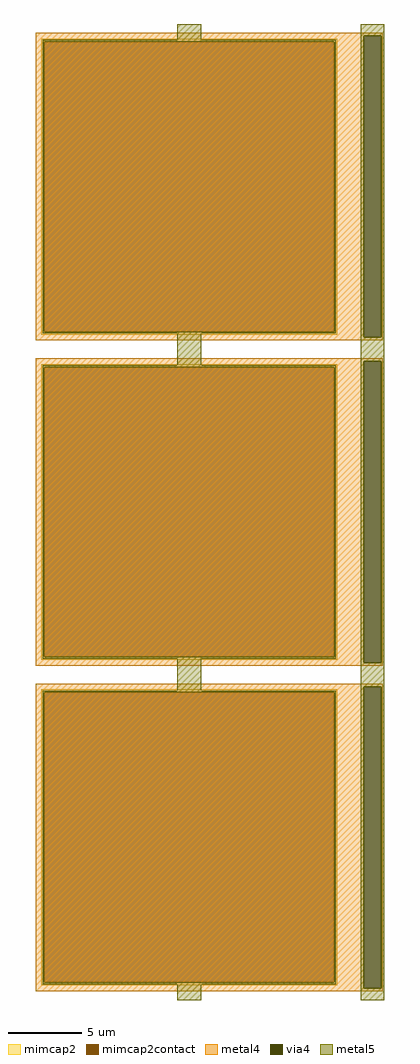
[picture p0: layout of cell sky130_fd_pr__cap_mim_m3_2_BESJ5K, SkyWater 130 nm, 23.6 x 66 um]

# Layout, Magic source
magic
tech sky130B
magscale 1 2
<< metal4 >>
rect -2349 6439 2349 6480
rect -2349 2361 2093 6439
rect 2329 2361 2349 6439
rect -2349 2320 2349 2361
rect -2349 2039 2349 2080
rect -2349 -2039 2093 2039
rect 2329 -2039 2349 2039
rect -2349 -2080 2349 -2039
rect -2349 -2361 2349 -2320
rect -2349 -6439 2093 -2361
rect 2329 -6439 2349 -2361
rect -2349 -6480 2349 -6439
<< via4 >>
rect 2093 2361 2329 6439
rect 2093 -2039 2329 2039
rect 2093 -6439 2329 -2361
<< mimcap2 >>
rect -2269 6360 1731 6400
rect -2269 2440 -2229 6360
rect 1691 2440 1731 6360
rect -2269 2400 1731 2440
rect -2269 1960 1731 2000
rect -2269 -1960 -2229 1960
rect 1691 -1960 1731 1960
rect -2269 -2000 1731 -1960
rect -2269 -2440 1731 -2400
rect -2269 -6360 -2229 -2440
rect 1691 -6360 1731 -2440
rect -2269 -6400 1731 -6360
<< mimcap2contact >>
rect -2229 2440 1691 6360
rect -2229 -1960 1691 1960
rect -2229 -6360 1691 -2440
<< metal5 >>
rect -429 6384 -109 6600
rect 2051 6439 2371 6600
rect -2253 6360 1715 6384
rect -2253 2440 -2229 6360
rect 1691 2440 1715 6360
rect -2253 2416 1715 2440
rect -429 1984 -109 2416
rect 2051 2361 2093 6439
rect 2329 2361 2371 6439
rect 2051 2039 2371 2361
rect -2253 1960 1715 1984
rect -2253 -1960 -2229 1960
rect 1691 -1960 1715 1960
rect -2253 -1984 1715 -1960
rect -429 -2416 -109 -1984
rect 2051 -2039 2093 2039
rect 2329 -2039 2371 2039
rect 2051 -2361 2371 -2039
rect -2253 -2440 1715 -2416
rect -2253 -6360 -2229 -2440
rect 1691 -6360 1715 -2440
rect -2253 -6384 1715 -6360
rect -429 -6600 -109 -6384
rect 2051 -6439 2093 -2361
rect 2329 -6439 2371 -2361
rect 2051 -6600 2371 -6439
<< properties >>
string FIXED_BBOX -2349 2320 1811 6480
string gencell sky130_fd_pr__cap_mim_m3_2
string library sky130
string parameters w 20.00 l 20.00 val 815.2 carea 2.00 cperi 0.19 nx 1 ny 3 dummy 0 square 0 lmin 2.00 wmin 2.00 lmax 30.0 wmax 30.0 dc 0 bconnect 1 tconnect 1 ccov 100
<< end >>
